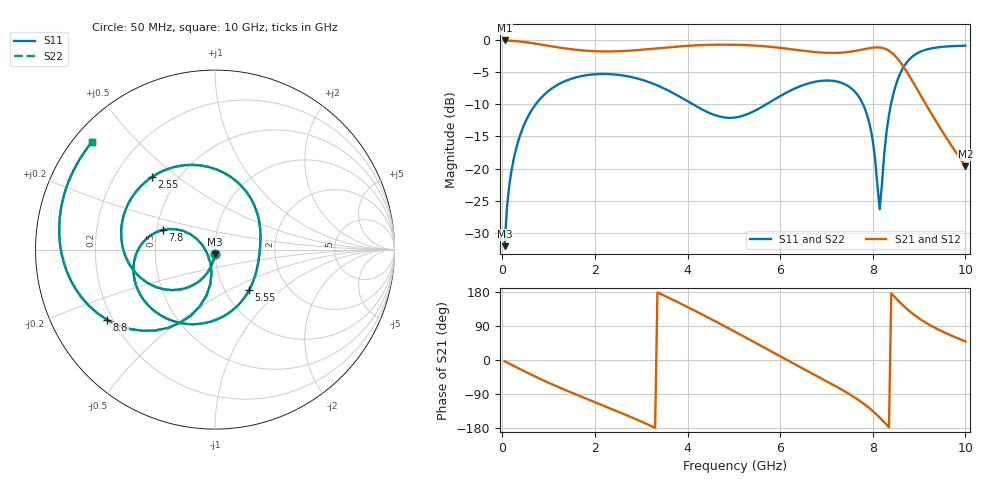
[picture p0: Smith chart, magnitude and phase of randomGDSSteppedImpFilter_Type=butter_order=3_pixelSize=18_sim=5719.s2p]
! freq	dB(S11)	phase(S11)	dB(S12)	phase(S12)
!  dB(S21)	phase(S21)	dB(S22)	phase(S22)
!S-par simulation data
#  GHz  S  DB  R 50
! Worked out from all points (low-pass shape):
!   200 points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, 50 MHz to 10 GHz, reference 50 ohm
!   highest |S21| = -0.01 dB at 50 MHz (marker M1); lowest = -19.6 dB at 10 GHz (marker M2)
!   |S21| within 3 dB of the highest: start of sweep to 8.553 GHz
!   lowest |S11| = -32.1 dB at 50 MHz (marker M3), VSWR 1.05, Z = 49.8 - j2.46 ohm
!   |S11| at or under -10 dB: start of sweep to 720.3 MHz; 4.12 GHz to 5.695 GHz (1.575 GHz wide, 32.1 % of centre); 7.79 GHz to 8.392 GHz (602.2 MHz wide, 7.44 % of centre)
!   |S22| runs from -32.1 to -0.8 dB; largest |S21 - S12| = 0
!   S11 on the Smith chart (normalised r, x): 50 MHz: 1.00, -0.05; 2.55 GHz: 0.36, +0.41; 5.55 GHz: 1.29, -0.64; 7.8 GHz: 0.54, +0.13; 8.8 GHz: 0.18, -0.29; 10 GHz: 0.05, +0.37
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0.05  -32.12 -93.5  -0.01 -3.2  -0.01 -3.2  -32.12 -93.5
0.2  -20.25 -103.1  -0.06 -12.7  -0.06 -12.7  -20.25 -103.1
0.5  -12.71 -121.6  -0.28 -31.2  -0.28 -31.2  -12.71 -121.6
1.1  -7.35 -156.0  -0.97 -65.5  -0.97 -65.5  -7.35 -156.0
1.75  -5.51 170.6  -1.57 -98.9  -1.57 -98.9  -5.51 170.6
2.55  -5.42 130.9  -1.68 -138.8  -1.68 -138.8  -5.42 130.9
3.4  -7.19 85.6  -1.20 175.4  -1.20 175.4  -7.19 85.6
3.85  -8.87 59.5  -0.92 148.9  -0.92 148.9  -8.87 59.4
4.35  -10.91 28.9  -0.72 118.0  -0.72 118.0  -10.91 28.9
5.05  -12.01 -16.2  -0.69 73.0  -0.69 73.0  -12.01 -16.2
5.55  -10.61 -49.7  -0.85 39.9  -0.85 39.9  -10.61 -49.8
6.1  -8.29 -86.8  -1.25 3.2  -1.25 3.2  -8.29 -86.8
6.7  -6.54 -126.3  -1.78 -36.3  -1.78 -36.3  -6.54 -126.3
7.3  -6.56 -165.3  -1.92 -76.1  -1.92 -76.1  -6.56 -165.2
7.8  -10.14 159.4  -1.39 -115.1  -1.39 -115.1  -10.14 159.4
8  -15.66 148.0  -1.13 -134.9  -1.13 -134.9  -15.66 148.0
8.15  -26.35 -155.1  -1.11 -152.0  -1.11 -152.0  -26.35 -155.0
8.35  -11.64 -100.6  -1.61 -177.5  -1.61 -177.5  -11.64 -100.6
8.6  -5.04 -126.4  -3.45 150.4  -3.45 150.4  -5.04 -126.4
8.8  -2.89 -146.9  -5.67 128.1  -5.67 128.1  -2.88 -146.9
9.3  -1.20 174.8  -11.84 87.7  -11.84 87.7  -1.20 174.9
10  -0.82 138.9  -19.63 48.9  -19.63 48.9  -0.82 138.9
